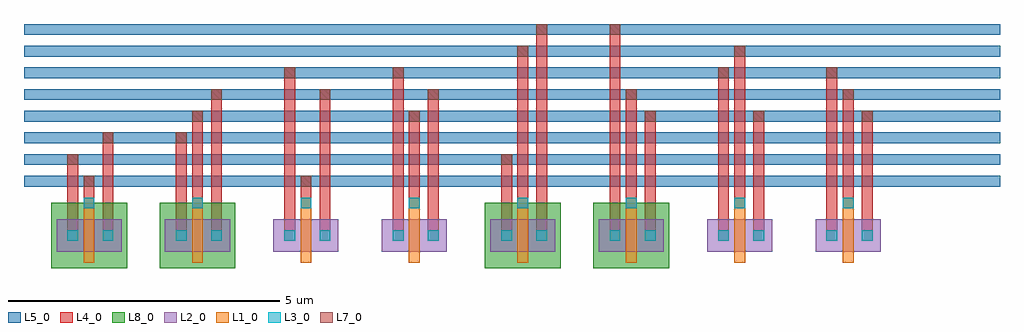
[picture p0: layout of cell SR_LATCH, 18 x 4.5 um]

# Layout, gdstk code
import gdstk
lib = gdstk.Library(unit=1e-6, precision=1e-09)
def R(c, l, rs):  # rectangles x0, y0, x1, y1
    for r in rs: c.add(gdstk.rectangle(r[:2], r[2:], *l))
def A(c, l, x, y, w, h, nx, ny, dx, dy):  # array of equal rectangles
    R(c, l, [(x+i*dx, y+j*dy, x+i*dx+w, y+j*dy+h) for i in range(nx) for j in range(ny)])
L1_0 = (1, 0)
L2_0 = (2, 0)
L3_0 = (3, 0)
L4_0 = (4, 0)
L5_0 = (5, 0)
L7_0 = (7, 0)
L8_0 = (8, 0)

sr_latch = lib.new_cell('SR_LATCH')
A(sr_latch, L1_0, 0.9, -0.2, 0.2, 1.2, 8, 1, 2, 0)
A(sr_latch, L2_0, 0.4, 0, 1.2, 0.6, 8, 1, 2, 0)
A(sr_latch, L3_0, 0.9, 0.8, 0.2, 0.2, 8, 1, 2, 0)
R(sr_latch, L3_0, [(0.6,0.2,0.8,0.4), (1.25,0.2,1.45,0.4), (2.6,0.2,2.8,0.4), (3.25,0.2,3.45,0.4), (4.6,0.2,4.8,0.4), (5.25,0.2,5.45,0.4), (6.6,0.2,6.8,0.4), (7.25,0.2,7.45,0.4), (8.6,0.2,8.8,0.4), (9.25,0.2,9.45,0.4), (10.6,0.2,10.8,0.4), (11.25,0.2,11.45,0.4), (12.6,0.2,12.8,0.4), (13.25,0.2,13.45,0.4), (14.6,0.2,14.8,0.4), (15.25,0.2,15.45,0.4)])
A(sr_latch, L4_0, 3.25, 0.2, 0.2, 2.8, 3, 1, 2, 0)
A(sr_latch, L4_0, 11.25, 0.2, 0.2, 2.4, 3, 1, 2, 0)
R(sr_latch, L4_0, [(0.6,0.2,0.8,1.8), (1.25,0.2,1.45,2.2), (2.6,0.2,2.8,2.2), (4.6,0.2,4.8,3.4), (6.6,0.2,6.8,3.4), (8.6,0.2,8.8,1.8), (9.25,0.2,9.45,4.2), (10.6,0.2,10.8,4.2), (12.6,0.2,12.8,3.4), (14.6,0.2,14.8,3.4), (0.9,0.8,1.1,1.4), (2.9,0.8,3.1,2.6), (4.9,0.8,5.1,1.4), (6.9,0.8,7.1,2.6), (8.9,0.8,9.1,3.8), (10.9,0.8,11.1,3), (12.9,0.8,13.1,3.8), (14.9,0.8,15.1,3)])
A(sr_latch, L5_0, -0.2, 1.2, 18, 0.2, 1, 8, 0, 0.4)
A(sr_latch, L7_0, 11.25, 2.4, 0.2, 0.2, 3, 1, 2, 0)
A(sr_latch, L7_0, 3.25, 2.8, 0.2, 0.2, 3, 1, 2, 0)
R(sr_latch, L7_0, [(0.9,1.2,1.1,1.4), (4.9,1.2,5.1,1.4), (0.6,1.6,0.8,1.8), (8.6,1.6,8.8,1.8), (1.25,2,1.45,2.2), (2.6,2,2.8,2.2), (2.9,2.4,3.1,2.6), (6.9,2.4,7.1,2.6), (10.9,2.8,11.1,3), (14.9,2.8,15.1,3), (4.6,3.2,4.8,3.4), (6.6,3.2,6.8,3.4), (12.6,3.2,12.8,3.4), (14.6,3.2,14.8,3.4), (8.9,3.6,9.1,3.8), (12.9,3.6,13.1,3.8), (9.25,4,9.45,4.2), (10.6,4,10.8,4.2)])
R(sr_latch, L8_0, [(0.3,-0.3,1.7,0.9), (2.3,-0.3,3.7,0.9), (8.3,-0.3,9.7,0.9), (10.3,-0.3,11.7,0.9)])

lib.write_gds('SR_LATCH.gds')
